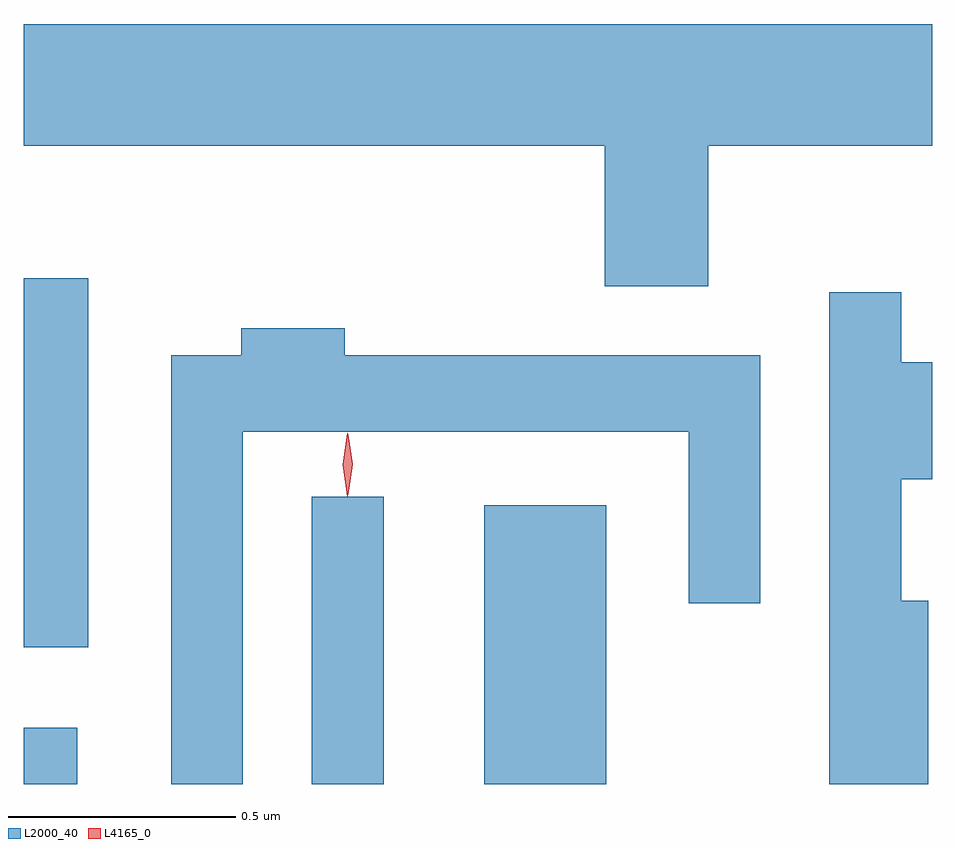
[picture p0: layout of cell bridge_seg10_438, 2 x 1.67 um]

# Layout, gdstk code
import gdstk
lib = gdstk.Library(unit=1e-6, precision=1e-09)
def R(c, l, rs):  # rectangles x0, y0, x1, y1
    for r in rs: c.add(gdstk.rectangle(r[:2], r[2:], *l))
def P(c, l, *ps):  # polygons
    for p in ps: c.add(gdstk.Polygon(p, *l))
L2000_40 = (2000, 40)
L4165_0 = (4165, 0)

bridge_seg10_438 = lib.new_cell('bridge_seg10_438')
R(bridge_seg10_438, L2000_40, [(1371.232,2092.53,1371.349,2092.654), (1371.866,2092.53,1372.024,2093.163), (1372.246,2092.53,1372.514,2093.144), (1371.232,2092.831,1371.374,2093.644)])
P(bridge_seg10_438, L2000_40, [(1372.739,2093.936),(1373.232,2093.936),(1373.232,2094.204),(1371.232,2094.204),(1371.232,2093.936),(1372.511,2093.936),(1372.511,2093.626),(1372.739,2093.626)],
  [(1373.224,2092.934),(1373.164,2092.934),(1373.164,2093.201),(1373.232,2093.201),(1373.232,2093.459),(1373.164,2093.459),(1373.164,2093.613),(1373.006,2093.613),(1373.006,2092.53),(1373.224,2092.53)],
  [(1371.714,2093.306),(1372.696,2093.306),(1372.696,2092.928),(1372.854,2092.928),(1372.854,2093.474),(1371.939,2093.474),(1371.939,2093.534),(1371.711,2093.534),(1371.711,2093.474),(1371.556,2093.474),(1371.556,2092.53),(1371.714,2092.53)])
P(bridge_seg10_438, L4165_0, [(1371.944,2093.164),(1371.944,2093.164),(1371.934,2093.233),(1371.944,2093.303),(1371.944,2093.303),(1371.945,2093.303),(1371.954,2093.233),(1371.945,2093.164)],
  [(1371.945,2093.167),(1371.936,2093.234),(1371.945,2093.3),(1371.945,2093.3),(1371.946,2093.3),(1371.956,2093.234),(1371.946,2093.167),(1371.946,2093.167)])

lib.write_gds('bridge_seg10_438.gds')
